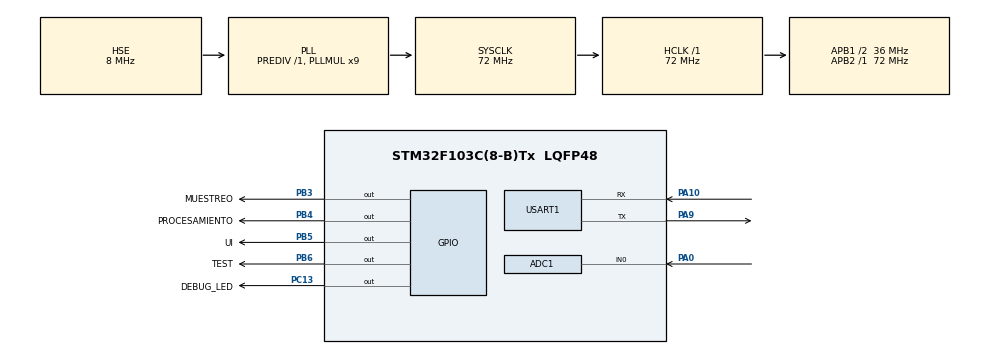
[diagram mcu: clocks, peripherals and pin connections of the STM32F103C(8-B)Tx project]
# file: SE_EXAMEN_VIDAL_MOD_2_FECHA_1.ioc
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ADC1.Channel-0\#ChannelRegularConversion=ADC_CHANNEL_0
ADC1.NbrOfConversionFlag=1
ADC1.Rank-0\#ChannelRegularConversion=1
ADC1.SamplingTime-0\#ChannelRegularConversion=ADC_SAMPLETIME_1CYCLE_5
ADC1.master=1
FREERTOS.INCLUDE_pcTaskGetTaskName=1
FREERTOS.Queues01=Q1,400,uint16_t,0,Static,Q1Buffer,Q1ControlBlock;Q2,10,QueueMessage_t,0,Static,Q2Buffer,Q2ControlBlock
FREERTOS.Tasks01=MuestreoTask,48,128,StartDefaultTask,Default,NULL,Dynamic,NULL,NULL;ProcesamientoTa,32,256,processingData,Default,NULL,Dynamic,NULL,NULL;UITask,8,128,UI,Default,NULL,Dynamic,NULL,NULL
Mcu.Family=STM32F1
Mcu.Name=STM32F103C(8-B)Tx
Mcu.Package=LQFP48
NVIC.PriorityGroup=NVIC_PRIORITYGROUP_4
NVIC.TIM4_IRQn=true\:15\:0\:false\:false\:true\:false\:false\:true\:true
NVIC.TimeBase=TIM4_IRQn
NVIC.TimeBaseIP=TIM4
PA0-WKUP.Signal=ADCx_IN0
PA10.Mode=Asynchronous
PA10.Signal=USART1_RX
PA13.Mode=Serial_Wire
PA13.Signal=SYS_JTMS-SWDIO
PA14.Mode=Serial_Wire
PA14.Signal=SYS_JTCK-SWCLK
PA9.Mode=Asynchronous
PA9.Signal=USART1_TX
PB3.GPIO_Label=MUESTREO
PB3.Signal=GPIO_Output
PB4.GPIO_Label=PROCESAMIENTO
PB4.Signal=GPIO_Output
PB5.GPIO_Label=UI
PB5.Signal=GPIO_Output
PB6.GPIO_Label=TEST
PB6.Signal=GPIO_Output
PC13-TAMPER-RTC.GPIO_Label=DEBUG_LED
PC13-TAMPER-RTC.Signal=GPIO_Output
PD0-OSC_IN.Mode=HSE-External-Oscillator
PD0-OSC_IN.Signal=RCC_OSC_IN
PD1-OSC_OUT.Mode=HSE-External-Oscillator
PD1-OSC_OUT.Signal=RCC_OSC_OUT
ProjectManager.HeapSize=0x200
ProjectManager.StackSize=0x400
ProjectManager.TargetToolchain=STM32CubeIDE
RCC.ADCPresc=RCC_ADCPCLK2_DIV6
RCC.AHBFreq_Value=72000000
RCC.APB1CLKDivider=RCC_HCLK_DIV2
RCC.APB1Freq_Value=36000000
RCC.APB1TimFreq_Value=72000000
RCC.APB2Freq_Value=72000000
RCC.APB2TimFreq_Value=72000000
RCC.HCLKFreq_Value=72000000
RCC.PLLMUL=RCC_PLL_MUL9
RCC.PLLSourceVirtual=RCC_PLLSOURCE_HSE
RCC.SYSCLKFreq_VALUE=72000000
RCC.SYSCLKSource=RCC_SYSCLKSOURCE_PLLCLK
RCC.USBFreq_Value=72000000
SH.ADCx_IN0.0=ADC1_IN0,IN0
USART1.VirtualMode=VM_ASYNC
VP_FREERTOS_VS_CMSIS_V2.Mode=CMSIS_V2
VP_SYS_VS_tim4.Mode=TIM4
board=custom

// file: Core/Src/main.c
/* USER CODE BEGIN Header */
/**
  ******************************************************************************
  * @file           : main.c
  * @brief          : Main program body
  ******************************************************************************
  * @attention
  *
  * Copyright (c) 2026 STMicroelectronics.
  * All rights reserved.
  *
  * This software is licensed under terms that can be found in the LICENSE file
  * in the root directory of this software component.
  * If no LICENSE file comes with this software, it is provided AS-IS.
  *
  ******************************************************************************
  */
/* USER CODE END Header */
#include "main.h"
#include "cmsis_os.h"

/* USER CODE BEGIN Includes */
#include <stdio.h>
#include "string.h"

/* USER CODE END Includes */

typedef StaticQueue_t osStaticMessageQDef_t;

/* USER CODE BEGIN PD */

typedef enum {
	ACTIVA,
	DESACTIVADA,
} EstadoAlarma;

typedef enum {
	ALARMA_ACTIVAR,
	ALARMA_DESACTIVAR,
	MOSTRAR_PROMEDIO
} MessageType;

typedef struct {
	MessageType message;
	uint32_t payload;
} QueueMessage_t;

volatile EstadoAlarma estadoAlarma = DESACTIVADA;

/* USER CODE END PD */

ADC_HandleTypeDef hadc1;

UART_HandleTypeDef huart1;

/* Definitions for MuestreoTask */
osThreadId_t MuestreoTaskHandle;
const osThreadAttr_t MuestreoTask_attributes = {
  .name = "MuestreoTask",
  .stack_size = 128 * 4,
  .priority = (osPriority_t) osPriorityRealtime,
};
/* Definitions for ProcesamientoTa */
osThreadId_t ProcesamientoTaHandle;
const osThreadAttr_t ProcesamientoTa_attributes = {
  .name = "ProcesamientoTa",
  .stack_size = 256 * 4,
  .priority = (osPriority_t) osPriorityAboveNormal,
};
/* Definitions for UITask */
osThreadId_t UITaskHandle;
const osThreadAttr_t UITask_attributes = {
  .name = "UITask",
  .stack_size = 128 * 4,
  .priority = (osPriority_t) osPriorityLow,
};
/* Definitions for Q1 */
osMessageQueueId_t Q1Handle;
uint8_t Q1Buffer[ 400 * sizeof( uint16_t ) ];
osStaticMessageQDef_t Q1ControlBlock;
const osMessageQueueAttr_t Q1_attributes = {
  .name = "Q1",
  .cb_mem = &Q1ControlBlock,
  .cb_size = sizeof(Q1ControlBlock),
  .mq_mem = &Q1Buffer,
  .mq_size = sizeof(Q1Buffer)
};
/* Definitions for Q2 */
osMessageQueueId_t Q2Handle;
uint8_t Q2Buffer[ 10 * sizeof( QueueMessage_t ) ];
osStaticMessageQDef_t Q2ControlBlock;
const osMessageQueueAttr_t Q2_attributes = {
  .name = "Q2",
  .cb_mem = &Q2ControlBlock,
  .cb_size = sizeof(Q2ControlBlock),
  .mq_mem = &Q2Buffer,
  .mq_size = sizeof(Q2Buffer)
};

void SystemClock_Config(void);
static void MX_GPIO_Init(void);
static void MX_ADC1_Init(void);
static void MX_USART1_UART_Init(void);
void StartDefaultTask(void *argument);
void processingData(void *argument);
void UI(void *argument);

int main(void)
{

  /* MCU Configuration--------------------------------------------------------*/

  /* Reset of all peripherals, Initializes the Flash interface and the Systick. */
  HAL_Init();

  /* Configure the system clock */
  SystemClock_Config();

  /* Initialize all configured peripherals */
  MX_GPIO_Init();
  MX_ADC1_Init();
  MX_USART1_UART_Init();
  /* USER CODE BEGIN 2 */

  HAL_GPIO_TogglePin(DEBUG_LED_GPIO_Port, DEBUG_LED_Pin);
  HAL_Delay(1000);
  HAL_GPIO_TogglePin(DEBUG_LED_GPIO_Port, DEBUG_LED_Pin);
  HAL_Delay(500);
  HAL_GPIO_TogglePin(DEBUG_LED_GPIO_Port, DEBUG_LED_Pin);
  HAL_Delay(1000);

  /* USER CODE END 2 */

  /* Init scheduler */
  osKernelInitialize();

  /* Create the queue(s) */
  /* creation of Q1 */
  Q1Handle = osMessageQueueNew (400, sizeof(uint16_t), &Q1_attributes);

  /* creation of Q2 */
  Q2Handle = osMessageQueueNew (10, sizeof(QueueMessage_t), &Q2_attributes);

  /* Create the thread(s) */
  /* creation of MuestreoTask */
  MuestreoTaskHandle = osThreadNew(StartDefaultTask, NULL, &MuestreoTask_attributes);

  /* creation of ProcesamientoTa */
  ProcesamientoTaHandle = osThreadNew(processingData, NULL, &ProcesamientoTa_attributes);

  /* creation of UITask */
  UITaskHandle = osThreadNew(UI, NULL, &UITask_attributes);

  /* Start scheduler */
  osKernelStart();

  /* We should never get here as control is now taken by the scheduler */

  /* Infinite loop */
  while (1)
  {

  }
}

void SystemClock_Config(void)
{
  RCC_OscInitTypeDef RCC_OscInitStruct = {0};
  RCC_ClkInitTypeDef RCC_ClkInitStruct = {0};
  RCC_PeriphCLKInitTypeDef PeriphClkInit = {0};

  /** Initializes the RCC Oscillators according to the specified parameters
  * in the RCC_OscInitTypeDef structure.
  */
  RCC_OscInitStruct.OscillatorType = RCC_OSCILLATORTYPE_HSE;
  RCC_OscInitStruct.HSEState = RCC_HSE_ON;
  RCC_OscInitStruct.HSEPredivValue = RCC_HSE_PREDIV_DIV1;
  RCC_OscInitStruct.HSIState = RCC_HSI_ON;
  RCC_OscInitStruct.PLL.PLLState = RCC_PLL_ON;
  RCC_OscInitStruct.PLL.PLLSource = RCC_PLLSOURCE_HSE;
  RCC_OscInitStruct.PLL.PLLMUL = RCC_PLL_MUL9;
  if (HAL_RCC_OscConfig(&RCC_OscInitStruct) != HAL_OK)
  {
    Error_Handler();
  }

  /** Initializes the CPU, AHB and APB buses clocks
  */
  RCC_ClkInitStruct.ClockType = RCC_CLOCKTYPE_HCLK|RCC_CLOCKTYPE_SYSCLK
                              |RCC_CLOCKTYPE_PCLK1|RCC_CLOCKTYPE_PCLK2;
  RCC_ClkInitStruct.SYSCLKSource = RCC_SYSCLKSOURCE_PLLCLK;
  RCC_ClkInitStruct.AHBCLKDivider = RCC_SYSCLK_DIV1;
  RCC_ClkInitStruct.APB1CLKDivider = RCC_HCLK_DIV2;
  RCC_ClkInitStruct.APB2CLKDivider = RCC_HCLK_DIV1;

  if (HAL_RCC_ClockConfig(&RCC_ClkInitStruct, FLASH_LATENCY_2) != HAL_OK)
  {
    Error_Handler();
  }
  PeriphClkInit.PeriphClockSelection = RCC_PERIPHCLK_ADC;
  PeriphClkInit.AdcClockSelection = RCC_ADCPCLK2_DIV6;
  if (HAL_RCCEx_PeriphCLKConfig(&PeriphClkInit) != HAL_OK)
  {
    Error_Handler();
  }
}

static void MX_ADC1_Init(void)
{

  ADC_ChannelConfTypeDef sConfig = {0};

  /** Common config
  */
  hadc1.Instance = ADC1;
  hadc1.Init.ScanConvMode = ADC_SCAN_DISABLE;
  hadc1.Init.ContinuousConvMode = DISABLE;
  hadc1.Init.DiscontinuousConvMode = DISABLE;
  hadc1.Init.ExternalTrigConv = ADC_SOFTWARE_START;
  hadc1.Init.DataAlign = ADC_DATAALIGN_RIGHT;
  hadc1.Init.NbrOfConversion = 1;
  if (HAL_ADC_Init(&hadc1) != HAL_OK)
  {
    Error_Handler();
  }

  /** Configure Regular Channel
  */
  sConfig.Channel = ADC_CHANNEL_0;
  sConfig.Rank = ADC_REGULAR_RANK_1;
  sConfig.SamplingTime = ADC_SAMPLETIME_1CYCLE_5;
  if (HAL_ADC_ConfigChannel(&hadc1, &sConfig) != HAL_OK)
  {
    Error_Handler();
  }

}

static void MX_USART1_UART_Init(void)
{

  huart1.Instance = USART1;
  huart1.Init.BaudRate = 115200;
  huart1.Init.WordLength = UART_WORDLENGTH_8B;
  huart1.Init.StopBits = UART_STOPBITS_1;
  huart1.Init.Parity = UART_PARITY_NONE;
  huart1.Init.Mode = UART_MODE_TX_RX;
  huart1.Init.HwFlowCtl = UART_HWCONTROL_NONE;
  huart1.Init.OverSampling = UART_OVERSAMPLING_16;
  if (HAL_UART_Init(&huart1) != HAL_OK)
  {
    Error_Handler();
  }

}

static void MX_GPIO_Init(void)
{
  GPIO_InitTypeDef GPIO_InitStruct = {0};

  /* GPIO Ports Clock Enable */
  __HAL_RCC_GPIOC_CLK_ENABLE();
  __HAL_RCC_GPIOD_CLK_ENABLE();
  __HAL_RCC_GPIOA_CLK_ENABLE();
  __HAL_RCC_GPIOB_CLK_ENABLE();

  /*Configure GPIO pin Output Level */
  HAL_GPIO_WritePin(DEBUG_LED_GPIO_Port, DEBUG_LED_Pin, GPIO_PIN_RESET);

  /*Configure GPIO pin Output Level */
  HAL_GPIO_WritePin(GPIOB, MUESTREO_Pin|PROCESAMIENTO_Pin|UI_Pin|TEST_Pin, GPIO_PIN_RESET);

  /*Configure GPIO pin : DEBUG_LED_Pin */
  GPIO_InitStruct.Pin = DEBUG_LED_Pin;
  GPIO_InitStruct.Mode = GPIO_MODE_OUTPUT_PP;
  GPIO_InitStruct.Pull = GPIO_NOPULL;
  GPIO_InitStruct.Speed = GPIO_SPEED_FREQ_LOW;
  HAL_GPIO_Init(DEBUG_LED_GPIO_Port, &GPIO_InitStruct);

  /*Configure GPIO pins : MUESTREO_Pin PROCESAMIENTO_Pin UI_Pin TEST_Pin */
  GPIO_InitStruct.Pin = MUESTREO_Pin|PROCESAMIENTO_Pin|UI_Pin|TEST_Pin;
  GPIO_InitStruct.Mode = GPIO_MODE_OUTPUT_PP;
  GPIO_InitStruct.Pull = GPIO_NOPULL;
  GPIO_InitStruct.Speed = GPIO_SPEED_FREQ_LOW;
  HAL_GPIO_Init(GPIOB, &GPIO_InitStruct);

}

void StartDefaultTask(void *argument)
{
  /* USER CODE BEGIN 5 */

	TickType_t delayTick = xTaskGetTickCount();

	// se calibra el ADC
	HAL_ADCEx_Calibration_Start(&hadc1);

	/* Infinite loop */
	for(;;)
	{
		HAL_ADC_Start(&hadc1); // se inicia la conversion
		HAL_ADC_PollForConversion(&hadc1, HAL_MAX_DELAY); // se espera la conversion
		uint32_t adcVal = (3300 * HAL_ADC_GetValue(&hadc1) ) / (4095) ; // se calcula la muestra a mV
		uint16_t sampleBuffer = adcVal; // se guarda el dato en el buffer

		osMessageQueuePut(Q1Handle, &sampleBuffer, 0, 0); // se pone en la cola el dato
		vTaskDelayUntil(&delayTick, 5); // se esperan 5ms
	}
  /* USER CODE END 5 */
}

void processingData(void *argument)
{
  /* USER CODE BEGIN processingData */

#define SAMPLE_BUFFER_SIZE (400)
	uint16_t sampleBuffer[SAMPLE_BUFFER_SIZE] = {0};
	uint32_t index = 0;

	/* Infinite loop */
	for(;;)
	{

		// se calcula el promedio
		while (osMessageQueueGet(Q1Handle, &sampleBuffer[index], NULL, 0) == osOK && index < SAMPLE_BUFFER_SIZE){
			index++;
			osDelay(50);
		}

		index = 0;

		uint32_t acc = 0;
		for (uint32_t i = 0; i < SAMPLE_BUFFER_SIZE; i++) {
			acc += sampleBuffer[i];
		}

		uint32_t avg = acc / SAMPLE_BUFFER_SIZE;

		// se crea el mensaje
		QueueMessage_t mesg = {
				.message = MOSTRAR_PROMEDIO,
				.payload = avg,
		};
		osMessageQueuePut(Q2Handle, &mesg, 0, 0); // se envía el mensaje a la cola

#define VCC (3300)
#define VCC_SOBRE_2 (VCC / 2)
		if (avg > VCC_SOBRE_2 && estadoAlarma == DESACTIVADA) {
			QueueMessage_t mesg = {
					.message = ALARMA_ACTIVAR,
					.payload = 0,
			};
			osMessageQueuePut(Q2Handle, &mesg, 0, 0); // se envía el mensaje a la cola
			estadoAlarma = ACTIVA; // se actualiza el estado de la alarma
		} else if (avg < VCC_SOBRE_2 && estadoAlarma == ACTIVA) {
			QueueMessage_t mesg = {
					.message = ALARMA_DESACTIVAR,
					.payload = 0,
			};
			osMessageQueuePut(Q2Handle, &mesg, 0, 0); // se envía el mensaje a la cola
			estadoAlarma = DESACTIVADA; // se actualiza el estado de la alarma
		}

		osDelay(1);

	}
  /* USER CODE END processingData */
}

void UI(void *argument)
{
  /* USER CODE BEGIN UI */

	TickType_t delayTick = xTaskGetTickCount();

	QueueMessage_t mesgBuffer; // buffer para el mensaje de la cola Q2

	char buffer_uart_info[40]; // buffer para el UART

  /* Infinite loop */
  for(;;)
  {

	  // se leen los mensajes de la cola y se actúa acorde
	  while (osMessageQueueGet(Q2Handle, &mesgBuffer, NULL, 0) == osOK){
#define MENSAJE_ALARMA_ACTIVADA ("ALARMA ACTIVADA\n")
#define MENSAJE_ALARMA_DESACTIVADA ("ALARMA DESACTIVADA\n")

		  switch (mesgBuffer.message) {
		  case ALARMA_ACTIVAR:
			  snprintf(buffer_uart_info, sizeof(buffer_uart_info), MENSAJE_ALARMA_ACTIVADA);
			  break;
		  case ALARMA_DESACTIVAR:
			  snprintf(buffer_uart_info, sizeof(buffer_uart_info), MENSAJE_ALARMA_DESACTIVADA);
			  break;
		  case MOSTRAR_PROMEDIO:
			  snprintf(buffer_uart_info, sizeof(buffer_uart_info), "DATO: %ld\n", mesgBuffer.payload);
			  break;
		  }

		  HAL_UART_Transmit(&huart1, (uint8_t*)buffer_uart_info, sizeof(buffer_uart_info), HAL_MAX_DELAY);

	  }

	  vTaskDelayUntil(&delayTick, 5000); // se esperan 5 segundos
  }
  /* USER CODE END UI */
}

void HAL_TIM_PeriodElapsedCallback(TIM_HandleTypeDef *htim)
{
  if (htim->Instance == TIM4)
  {
    HAL_IncTick();
  }
}

void Error_Handler(void)
{
  __disable_irq();
  while (1)
  {
  }
}
